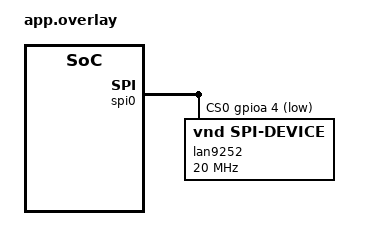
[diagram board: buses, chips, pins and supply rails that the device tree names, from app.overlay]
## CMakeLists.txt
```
# SPDX-License-Identifier: MIT
#
# EtherCAT slave + LAN9252 HAL (Zephyr). Requires a board devicetree with SPI
# and app.overlay setting /chosen ul-ecat-spi. See README in this directory.
#
cmake_minimum_required(VERSION 3.20)

set(UL_ECAT_REPO_ROOT "${CMAKE_CURRENT_SOURCE_DIR}/../../..")
list(APPEND ZEPHYR_EXTRA_MODULES ${UL_ECAT_REPO_ROOT})

find_package(Zephyr REQUIRED HINTS $ENV{ZEPHYR_BASE})
project(ul_ecat_servo)

target_include_directories(app PRIVATE ${CMAKE_CURRENT_SOURCE_DIR}/../../common)
target_sources(app PRIVATE src/main.c)
```

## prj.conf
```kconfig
# ul_ecat servo slave sample — LAN9252 SPI HAL + PDO loop (no Ethernet master stack)

CONFIG_MAIN_STACK_SIZE=4096
CONFIG_SYSTEM_WORKQUEUE_STACK_SIZE=2048

CONFIG_PRINTK=y
CONFIG_LOG=y
CONFIG_LOG_MODE_MINIMAL=y

# SPI + GPIO (CS) — required by UL_ECAT_LAN9252_HAL
CONFIG_SPI=y
CONFIG_GPIO=y

CONFIG_UL_ECAT=y
CONFIG_UL_ECAT_SLAVE=y
CONFIG_UL_ECAT_LAN9252_HAL=y
```

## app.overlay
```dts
/*
 * Template: point /chosen ul-ecat-spi at your LAN9252 SPI device node.
 * Adjust &spi0 / cs-gpios / pins to match your board; see README.
 */

/ {
	chosen {
		ul-ecat-spi = &lan9252;
	};
};

/* Example: enable SPI0 with one CS — replace with your SoC block */
&spi0 {
	status = "okay";
	cs-gpios = <&gpioa 4 GPIO_ACTIVE_LOW>;

	lan9252: lan9252@0 {
		compatible = "vnd,spi-device";
		reg = <0>;
		spi-max-frequency = <20000000>;
	};
};
```

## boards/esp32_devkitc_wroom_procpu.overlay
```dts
/*
 * CI / ESP32-DevKitC (WROOM): LAN9252 lógico em SPI2 (CSEL GPIO15 no pinctrl da placa).
 * Ajusta o overlay para o teu hardware real (bus, CS, frequência).
 */

/ {
	chosen {
		ul-ecat-spi = &lan9252;
	};
};

&spi2 {
	lan9252: lan9252@0 {
		compatible = "vnd,spi-device";
		reg = <0>;
		spi-max-frequency = <8000000>;
	};
};
```

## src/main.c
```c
/*
 * Copyright (c) ul_ecat contributors
 * SPDX-License-Identifier: MIT
 *
 * Minimal EtherCAT slave loop: LAN9252 poll + fictitious servo PDO (position/velocity/torque).
 */

#include <string.h>

#include <zephyr/kernel.h>
#include <zephyr/sys/printk.h>

#include "lan9252.h"
#include "ul_ecat_slave_controller.h"
#include "ul_ecat_servo_sample.h"

int main(void)
{
	ul_ecat_slave_t slave;
	ul_ecat_slave_controller_t ctrl;
	ul_ecat_slave_identity_t id;
	uint8_t mac[6] = {0x02, 0xEC, 0x40, 0x70, 0x00, 0x01};
	uint8_t rx_stack[UL_ECAT_SERVO_PDO_BYTES];
	uint8_t tx_stack[UL_ECAT_SERVO_PDO_BYTES];
	ul_ecat_slave_controller_pdram_cfg_t pd = {
	    .in_offset = UL_ECAT_SERVO_RXPDO_OFF,
	    .in_len = UL_ECAT_SERVO_PDO_BYTES,
	    .in_buf = rx_stack,
	    .out_offset = UL_ECAT_SERVO_TXPDO_OFF,
	    .out_len = UL_ECAT_SERVO_PDO_BYTES,
	    .out_buf = tx_stack,
	};

	memset(&slave, 0, sizeof(slave));
	memset(&ctrl, 0, sizeof(ctrl));
	memset(rx_stack, 0, sizeof(rx_stack));
	memset(tx_stack, 0, sizeof(tx_stack));
	ul_ecat_servo_sample_identity(&id);

	/* SYS_INIT in controllers/lan9252/ports/zephyr/hal_zephyr.c binds SPI from /chosen ul-ecat-spi */
	k_sleep(K_MSEC(10));

	if (lan9252_init() != 0) {
		printk("ul_ecat_servo: lan9252_init failed\n");
		return 0;
	}

	if (ul_ecat_slave_controller_init(&ctrl, &slave, UL_ECAT_SLAVE_BACKEND_LAN9252_SPI, mac, &id) != 0) {
		printk("ul_ecat_servo: ul_ecat_slave_controller_init failed\n");
		return 0;
	}

	ul_ecat_slave_controller_set_pdram(&ctrl, &pd);

	for (;;) {
		(void)ul_ecat_slave_controller_poll(&ctrl, 0);

		{
			ul_ecat_servo_txpdo_t *tx = (void *)tx_stack;
			const ul_ecat_servo_rxpdo_t *rx = (const void *)rx_stack;

			tx->actual_position = rx->target_position;
			tx->actual_velocity = rx->target_velocity;
			tx->actual_torque = rx->target_torque;
		}

		k_sleep(K_MSEC(1));
	}
}
```
